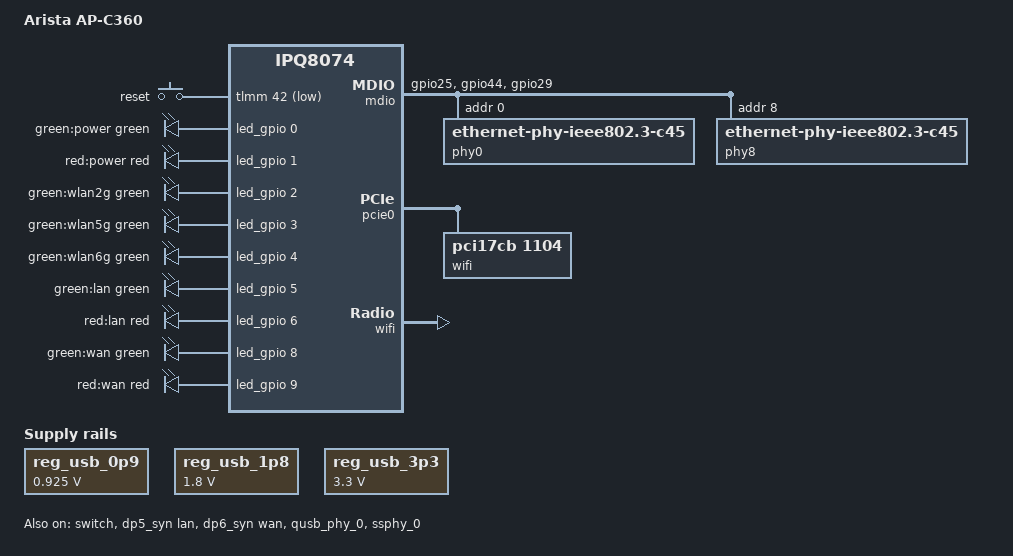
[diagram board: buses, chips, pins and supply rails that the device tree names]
// SPDX-License-Identifier: GPL-2.0-or-later OR MIT

/dts-v1/;

#include "ipq8076-arista.dtsi"

/ {
	model = "Arista AP-C360";
	compatible = "arista,c360", "qcom,ipq8074";

	keys {
		compatible = "gpio-keys";

		reset {
			label = "reset";
			gpios = <&tlmm 42 GPIO_ACTIVE_LOW>;
			linux,code = <KEY_RESTART>;
			debounce-interval = <60>;
		};
	};

	leds {
		compatible = "gpio-leds";

		led_power_green: power-green {
			label = "green:power";
			color = <LED_COLOR_ID_GREEN>;
			function = LED_FUNCTION_POWER;
			gpios = <&led_gpio 0 GPIO_ACTIVE_HIGH>;
			default-state = "on";
		};

		led_power_red: power-red {
			label = "red:power";
			color = <LED_COLOR_ID_RED>;
			function = LED_FUNCTION_POWER;
			gpios = <&led_gpio 1 GPIO_ACTIVE_HIGH>;
			default-state = "off";
		};

		led_wlan2g_green: wlan2g-green {
			label = "green:wlan2g";
			color = <LED_COLOR_ID_GREEN>;
			function = LED_FUNCTION_WLAN_2GHZ;
			gpios = <&led_gpio 2 GPIO_ACTIVE_HIGH>;
			default-state = "off";
		};

		led_wlan5g_green: wlan5g-green {
			label = "green:wlan5g";
			color = <LED_COLOR_ID_GREEN>;
			function = LED_FUNCTION_WLAN_5GHZ;
			gpios = <&led_gpio 3 GPIO_ACTIVE_HIGH>;
			default-state = "off";
		};

		led_wlan6g_green: wlan6g-green {
			label = "green:wlan6g";
			color = <LED_COLOR_ID_GREEN>;
			function = LED_FUNCTION_WLAN_6GHZ;
			gpios = <&led_gpio 4 GPIO_ACTIVE_HIGH>;
			default-state = "off";
		};

		led_lan_green: lan-green {
			label = "green:lan";
			color = <LED_COLOR_ID_GREEN>;
			function = LED_FUNCTION_LAN;
			gpios = <&led_gpio 5 GPIO_ACTIVE_HIGH>;
			default-state = "off";
		};

		led_lan_red: lan-red {
			label = "red:lan";
			color = <LED_COLOR_ID_RED>;
			function = LED_FUNCTION_LAN;
			gpios = <&led_gpio 6 GPIO_ACTIVE_HIGH>;
			default-state = "off";
		};

		led_wan_green: wan-green {
			label = "green:wan";
			color = <LED_COLOR_ID_GREEN>;
			function = LED_FUNCTION_WAN;
			gpios = <&led_gpio 8 GPIO_ACTIVE_HIGH>;
			default-state = "off";
		};

		led_wan_red: wan-red {
			label = "red:wan";
			color = <LED_COLOR_ID_RED>;
			function = LED_FUNCTION_WAN;
			gpios = <&led_gpio 9 GPIO_ACTIVE_HIGH>;
			default-state = "off";
		};
	};

	reg_usb_0p9: regulator-usb-0p9 {
		compatible = "regulator-fixed";
		regulator-name = "usb_0p9";
		regulator-min-microvolt = <925000>;
		regulator-max-microvolt = <925000>;
		regulator-always-on;
	};

	reg_usb_1p8: regulator-usb-1p8 {
		compatible = "regulator-fixed";
		regulator-name = "usb_1p8";
		regulator-min-microvolt = <1800000>;
		regulator-max-microvolt = <1800000>;
		regulator-always-on;
	};

	reg_usb_3p3: regulator-usb-3p3 {
		compatible = "regulator-fixed";
		regulator-name = "usb_3p3";
		regulator-min-microvolt = <3300000>;
		regulator-max-microvolt = <3300000>;
		regulator-always-on;
	};
};

&{/chosen} {
	bootargs-append = " ubi.mtd=rootfs root=/dev/ubiblock0_0 rootfstype=squashfs rootwait";
};

&tlmm {
	mdio_extra_pins: mdio-extra-pins {
		phy-gpios {
			pins = "gpio25", "gpio44";
			function = "gpio";
			drive-strength = <8>;
			bias-pull-up;
		};

		phy-power {
			pins = "gpio29";
			function = "gpio";
			drive-strength = <8>;
			bias-pull-up;
			output-high;
		};
	};
};

&mdio {
	status = "okay";
	pinctrl-0 = <&mdio_pins>, <&mdio_extra_pins>;
	pinctrl-names = "default";

	phy0: ethernet-phy@0 {
		compatible = "ethernet-phy-ieee802.3-c45";
		reg = <0>;
	};

	phy8: ethernet-phy@8 {
		compatible = "ethernet-phy-ieee802.3-c45";
		reg = <8>;
	};
};

&switch {
	status = "okay";

	switch_lan_bmp = <ESS_PORT5>;
	switch_wan_bmp = <ESS_PORT6>;
	switch_mac_mode = <MAC_MODE_DISABLED>;
	switch_mac_mode1 = <MAC_MODE_USXGMII>;
	switch_mac_mode2 = <MAC_MODE_USXGMII>;

	qcom,port_phyinfo {
		port@5 {
			port_id = <5>;
			phy_address = <8>;
			compatible = "ethernet-phy-ieee802.3-c45";
			ethernet-phy-ieee802.3-c45;
		};

		port@6 {
			port_id = <6>;
			phy_address = <0>;
			compatible = "ethernet-phy-ieee802.3-c45";
			ethernet-phy-ieee802.3-c45;
		};
	};
};

&edma {
	status = "okay";
};

&dp5_syn {
	status = "okay";
	phy-mode = "usxgmii";
	phy-handle = <&phy8>;
	label = "lan";
	nvmem-cells = <&macaddr_lan>;
	nvmem-cell-names = "mac-address";
};

&dp6_syn {
	status = "okay";
	phy-mode = "usxgmii";
	phy-handle = <&phy0>;
	label = "wan";
	nvmem-cells = <&macaddr_wan>;
	nvmem-cell-names = "mac-address";
};

&qusb_phy_0 {
	status = "okay";
	vdd-supply = <&reg_usb_0p9>;
	vdda-pll-supply = <&reg_usb_1p8>;
	vdda-phy-dpdm-supply = <&reg_usb_3p3>;
};

&ssphy_0 {
	status = "okay";
	vdda-phy-supply = <&reg_usb_0p9>;
	vdda-pll-supply = <&reg_usb_1p8>;
};

&pcie0 {
	status = "okay";
	perst-gpio = <&tlmm 58 GPIO_ACTIVE_LOW>;

	pcie@0 {
		wifi@0,0 {
			status = "okay";
			compatible = "pci17cb,1104";
			qcom,ath11k-fw-memory-mode = <1>;
			qcom,ath11k-calibration-variant = "Arista-C360-9074";
			reg = <0x00010000 0 0 0 0>;
		};
	};
};

/* Keep the dedicated scan radio outside the client-serving ath11k topology. */
&pcie1 {
	status = "disabled";
};

&wifi {
	status = "okay";
	qcom,ath11k-fw-memory-mode = <1>;
	qcom,ath11k-calibration-variant = "Arista-C360";
};
